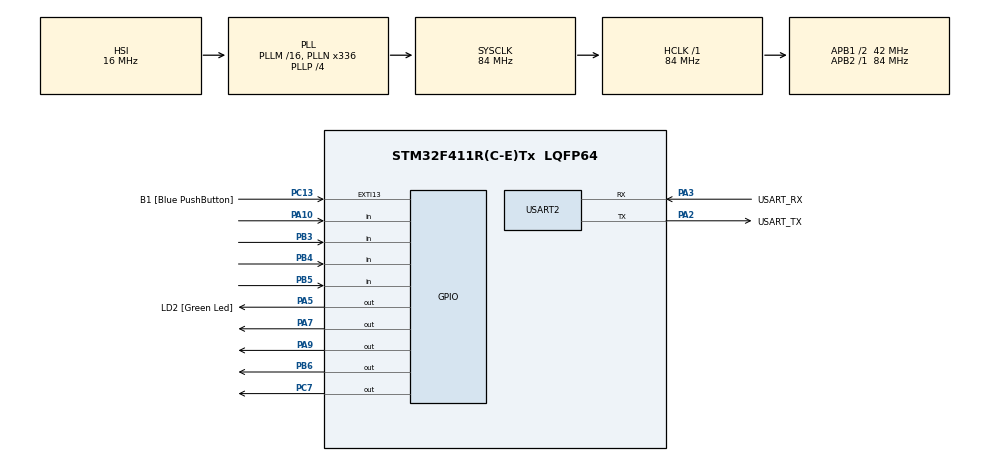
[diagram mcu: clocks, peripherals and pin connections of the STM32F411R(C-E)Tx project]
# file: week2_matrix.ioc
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Mcu.Family=STM32F4
Mcu.Name=STM32F411R(C-E)Tx
Mcu.Package=LQFP64
NVIC.PriorityGroup=NVIC_PRIORITYGROUP_0
PA10.GPIO_PuPd=GPIO_PULLUP
PA10.Signal=GPIO_Input
PA13.GPIO_Label=TMS
PA13.Mode=Serial_Wire
PA13.Signal=SYS_JTMS-SWDIO
PA14.GPIO_Label=TCK
PA14.Mode=Serial_Wire
PA14.Signal=SYS_JTCK-SWCLK
PA2.GPIO_Label=USART_TX
PA2.Mode=Asynchronous
PA2.Signal=USART2_TX
PA3.GPIO_Label=USART_RX
PA3.Mode=Asynchronous
PA3.Signal=USART2_RX
PA5.GPIO_Label=LD2 [Green Led]
PA5.Signal=GPIO_Output
PA7.GPIO_ModeDefaultOutputPP=GPIO_MODE_OUTPUT_OD
PA7.PinState=GPIO_PIN_SET
PA7.Signal=GPIO_Output
PA9.GPIO_ModeDefaultOutputPP=GPIO_MODE_OUTPUT_OD
PA9.PinState=GPIO_PIN_SET
PA9.Signal=GPIO_Output
PB3.GPIO_PuPd=GPIO_PULLUP
PB3.Signal=GPIO_Input
PB4.GPIO_PuPd=GPIO_PULLUP
PB4.Signal=GPIO_Input
PB5.GPIO_PuPd=GPIO_PULLUP
PB5.Signal=GPIO_Input
PB6.GPIO_ModeDefaultOutputPP=GPIO_MODE_OUTPUT_OD
PB6.PinState=GPIO_PIN_SET
PB6.Signal=GPIO_Output
PC13-ANTI_TAMP.GPIO_Label=B1 [Blue PushButton]
PC13-ANTI_TAMP.GPIO_ModeDefaultEXTI=GPIO_MODE_IT_FALLING
PC13-ANTI_TAMP.Signal=GPXTI13
PC14-OSC32_IN.Mode=LSE-External-Oscillator
PC14-OSC32_IN.Signal=RCC_OSC32_IN
PC15-OSC32_OUT.Mode=LSE-External-Oscillator
PC15-OSC32_OUT.Signal=RCC_OSC32_OUT
PC7.GPIO_ModeDefaultOutputPP=GPIO_MODE_OUTPUT_OD
PC7.PinState=GPIO_PIN_SET
PC7.Signal=GPIO_Output
PH0\ -\ OSC_IN.Mode=HSE-External-Clock-Source
PH0\ -\ OSC_IN.Signal=RCC_OSC_IN
PH1\ -\ OSC_OUT.Mode=HSE-External-Clock-Source
PH1\ -\ OSC_OUT.Signal=RCC_OSC_OUT
ProjectManager.HeapSize=0x200
ProjectManager.StackSize=0x400
ProjectManager.TargetToolchain=STM32CubeIDE
RCC.48MHZClocksFreq_Value=84000000
RCC.AHBFreq_Value=84000000
RCC.APB1CLKDivider=RCC_HCLK_DIV2
RCC.APB1Freq_Value=42000000
RCC.APB1TimFreq_Value=84000000
RCC.APB2Freq_Value=84000000
RCC.APB2TimFreq_Value=84000000
RCC.CortexFreq_Value=84000000
RCC.FLatency-AdvancedSettings=FLASH_LATENCY_2
RCC.HCLKFreq_Value=84000000
RCC.HSE_VALUE=8000000
RCC.HSI_VALUE=16000000
RCC.PLLN=336
RCC.PLLP=RCC_PLLP_DIV4
RCC.SYSCLKFreq_VALUE=84000000
RCC.SYSCLKSource=RCC_SYSCLKSOURCE_PLLCLK
RCC.VCOOutputFreq_Value=336000000
USART2.VirtualMode=VM_ASYNC
board=NUCLEO-F411RE

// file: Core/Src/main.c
/* USER CODE BEGIN Header */
/**
  ******************************************************************************
  * @file           : main.c
  * @brief          : Main program body
  ******************************************************************************
  * @attention
  *
  * <h2><center>&copy; Copyright (c) 2021 STMicroelectronics.
  * All rights reserved.</center></h2>
  *
  * This software component is licensed by ST under BSD 3-Clause license,
  * the "License"; You may not use this file except in compliance with the
  * License. You may obtain a copy of the License at:
  *                        opensource.org/licenses/BSD-3-Clause
  *
  ******************************************************************************
  */
/* USER CODE END Header */
#include "main.h"

UART_HandleTypeDef huart2;

/* USER CODE BEGIN PV */
//save status matrix

/* USER CODE END PV */

void SystemClock_Config(void);
static void MX_GPIO_Init(void);
static void MX_USART2_UART_Init(void);
/* USER CODE BEGIN PFP */
//scan and update of button matrix
uint16_t ButtonMatrixState=0;
uint32_t ButtonMatrixTimestamp=0;
void ButtonMatrixUpdate();
int checknumpress();
/* USER CODE END PFP */

int main(void)
{

  /* MCU Configuration--------------------------------------------------------*/

  /* Reset of all peripherals, Initializes the Flash interface and the Systick. */
  HAL_Init();

  /* Configure the system clock */
  SystemClock_Config();

  /* Initialize all configured peripherals */
  MX_GPIO_Init();
  MX_USART2_UART_Init();

  /* Infinite loop */
  /* USER CODE BEGIN WHILE */
  while (1)
  {

	  ButtonMatrixUpdate();

    /* USER CODE END WHILE */

  }
}

void SystemClock_Config(void)
{
  RCC_OscInitTypeDef RCC_OscInitStruct = {0};
  RCC_ClkInitTypeDef RCC_ClkInitStruct = {0};

  /** Configure the main internal regulator output voltage
  */
  __HAL_RCC_PWR_CLK_ENABLE();
  __HAL_PWR_VOLTAGESCALING_CONFIG(PWR_REGULATOR_VOLTAGE_SCALE1);
  /** Initializes the RCC Oscillators according to the specified parameters
  * in the RCC_OscInitTypeDef structure.
  */
  RCC_OscInitStruct.OscillatorType = RCC_OSCILLATORTYPE_HSI;
  RCC_OscInitStruct.HSIState = RCC_HSI_ON;
  RCC_OscInitStruct.HSICalibrationValue = RCC_HSICALIBRATION_DEFAULT;
  RCC_OscInitStruct.PLL.PLLState = RCC_PLL_ON;
  RCC_OscInitStruct.PLL.PLLSource = RCC_PLLSOURCE_HSI;
  RCC_OscInitStruct.PLL.PLLM = 16;
  RCC_OscInitStruct.PLL.PLLN = 336;
  RCC_OscInitStruct.PLL.PLLP = RCC_PLLP_DIV4;
  RCC_OscInitStruct.PLL.PLLQ = 4;
  if (HAL_RCC_OscConfig(&RCC_OscInitStruct) != HAL_OK)
  {
    Error_Handler();
  }
  /** Initializes the CPU, AHB and APB buses clocks
  */
  RCC_ClkInitStruct.ClockType = RCC_CLOCKTYPE_HCLK|RCC_CLOCKTYPE_SYSCLK
                              |RCC_CLOCKTYPE_PCLK1|RCC_CLOCKTYPE_PCLK2;
  RCC_ClkInitStruct.SYSCLKSource = RCC_SYSCLKSOURCE_PLLCLK;
  RCC_ClkInitStruct.AHBCLKDivider = RCC_SYSCLK_DIV1;
  RCC_ClkInitStruct.APB1CLKDivider = RCC_HCLK_DIV2;
  RCC_ClkInitStruct.APB2CLKDivider = RCC_HCLK_DIV1;

  if (HAL_RCC_ClockConfig(&RCC_ClkInitStruct, FLASH_LATENCY_2) != HAL_OK)
  {
    Error_Handler();
  }
}

static void MX_USART2_UART_Init(void)
{

  huart2.Instance = USART2;
  huart2.Init.BaudRate = 115200;
  huart2.Init.WordLength = UART_WORDLENGTH_8B;
  huart2.Init.StopBits = UART_STOPBITS_1;
  huart2.Init.Parity = UART_PARITY_NONE;
  huart2.Init.Mode = UART_MODE_TX_RX;
  huart2.Init.HwFlowCtl = UART_HWCONTROL_NONE;
  huart2.Init.OverSampling = UART_OVERSAMPLING_16;
  if (HAL_UART_Init(&huart2) != HAL_OK)
  {
    Error_Handler();
  }

}

static void MX_GPIO_Init(void)
{
  GPIO_InitTypeDef GPIO_InitStruct = {0};

  /* GPIO Ports Clock Enable */
  __HAL_RCC_GPIOC_CLK_ENABLE();
  __HAL_RCC_GPIOH_CLK_ENABLE();
  __HAL_RCC_GPIOA_CLK_ENABLE();
  __HAL_RCC_GPIOB_CLK_ENABLE();

  /*Configure GPIO pin Output Level */
  HAL_GPIO_WritePin(LD2_GPIO_Port, LD2_Pin, GPIO_PIN_RESET);

  /*Configure GPIO pin Output Level */
  HAL_GPIO_WritePin(GPIOA, GPIO_PIN_7|GPIO_PIN_9, GPIO_PIN_SET);

  /*Configure GPIO pin Output Level */
  HAL_GPIO_WritePin(GPIOC, GPIO_PIN_7, GPIO_PIN_SET);

  /*Configure GPIO pin Output Level */
  HAL_GPIO_WritePin(GPIOB, GPIO_PIN_6, GPIO_PIN_SET);

  /*Configure GPIO pin : B1_Pin */
  GPIO_InitStruct.Pin = B1_Pin;
  GPIO_InitStruct.Mode = GPIO_MODE_IT_FALLING;
  GPIO_InitStruct.Pull = GPIO_NOPULL;
  HAL_GPIO_Init(B1_GPIO_Port, &GPIO_InitStruct);

  /*Configure GPIO pin : LD2_Pin */
  GPIO_InitStruct.Pin = LD2_Pin;
  GPIO_InitStruct.Mode = GPIO_MODE_OUTPUT_PP;
  GPIO_InitStruct.Pull = GPIO_NOPULL;
  GPIO_InitStruct.Speed = GPIO_SPEED_FREQ_LOW;
  HAL_GPIO_Init(LD2_GPIO_Port, &GPIO_InitStruct);

  /*Configure GPIO pins : PA7 PA9 */
  GPIO_InitStruct.Pin = GPIO_PIN_7|GPIO_PIN_9;
  GPIO_InitStruct.Mode = GPIO_MODE_OUTPUT_OD;
  GPIO_InitStruct.Pull = GPIO_NOPULL;
  GPIO_InitStruct.Speed = GPIO_SPEED_FREQ_LOW;
  HAL_GPIO_Init(GPIOA, &GPIO_InitStruct);

  /*Configure GPIO pin : PC7 */
  GPIO_InitStruct.Pin = GPIO_PIN_7;
  GPIO_InitStruct.Mode = GPIO_MODE_OUTPUT_OD;
  GPIO_InitStruct.Pull = GPIO_NOPULL;
  GPIO_InitStruct.Speed = GPIO_SPEED_FREQ_LOW;
  HAL_GPIO_Init(GPIOC, &GPIO_InitStruct);

  /*Configure GPIO pin : PA10 */
  GPIO_InitStruct.Pin = GPIO_PIN_10;
  GPIO_InitStruct.Mode = GPIO_MODE_INPUT;
  GPIO_InitStruct.Pull = GPIO_PULLUP;
  HAL_GPIO_Init(GPIOA, &GPIO_InitStruct);

  /*Configure GPIO pins : PB3 PB4 PB5 */
  GPIO_InitStruct.Pin = GPIO_PIN_3|GPIO_PIN_4|GPIO_PIN_5;
  GPIO_InitStruct.Mode = GPIO_MODE_INPUT;
  GPIO_InitStruct.Pull = GPIO_PULLUP;
  HAL_GPIO_Init(GPIOB, &GPIO_InitStruct);

  /*Configure GPIO pin : PB6 */
  GPIO_InitStruct.Pin = GPIO_PIN_6;
  GPIO_InitStruct.Mode = GPIO_MODE_OUTPUT_OD;
  GPIO_InitStruct.Pull = GPIO_NOPULL;
  GPIO_InitStruct.Speed = GPIO_SPEED_FREQ_LOW;
  HAL_GPIO_Init(GPIOB, &GPIO_InitStruct);

}

/* USER CODE BEGIN 4 */
GPIO_TypeDef* ButtonmatrixPort[8]={GPIOA,GPIOB,GPIOB,GPIOB,GPIOA,GPIOC,GPIOB,GPIOA};
uint16_t ButtonMatrixPin[8]={GPIO_PIN_10,GPIO_PIN_3,GPIO_PIN_5,GPIO_PIN_4,GPIO_PIN_9,GPIO_PIN_7,GPIO_PIN_6,GPIO_PIN_7};
uint8_t ButtonMatrixLine=0;
uint8_t ButtonMatrixRow=0;
void ButtonMatrixUpdate(){
	if(HAL_GetTick()-ButtonMatrixTimestamp>=100){
		ButtonMatrixTimestamp=HAL_GetTick();
		for(int i=0;i<4;i++){
			GPIO_PinState Pinstate;
			Pinstate=HAL_GPIO_ReadPin(ButtonmatrixPort[i], ButtonMatrixPin[i]);
			if(Pinstate== GPIO_PIN_RESET){
				ButtonMatrixState |= (uint16_t)0x1<<(i+ ButtonMatrixRow*4);
			}else{
				ButtonMatrixState &= ~((uint16_t)0x1<<(i+ ButtonMatrixRow*4));
			}

		}
			uint8_t NowoutputPin =ButtonMatrixRow+4;
			HAL_GPIO_WritePin(ButtonmatrixPort[NowoutputPin], ButtonMatrixPin[NowoutputPin], GPIO_PIN_SET);
			ButtonMatrixRow=(ButtonMatrixRow+1)%4;
			uint8_t NextoutputPin = ButtonMatrixRow+4;
			HAL_GPIO_WritePin(ButtonmatrixPort[NextoutputPin], ButtonMatrixPin[NextoutputPin], GPIO_PIN_RESET);

	}

}
int checknumpress(){

	return 255;
}
/* USER CODE END 4 */

void Error_Handler(void)
{
  __disable_irq();
  while (1)
  {
  }
}

/************************ (C) COPYRIGHT STMicroelectronics *****END OF FILE****/
